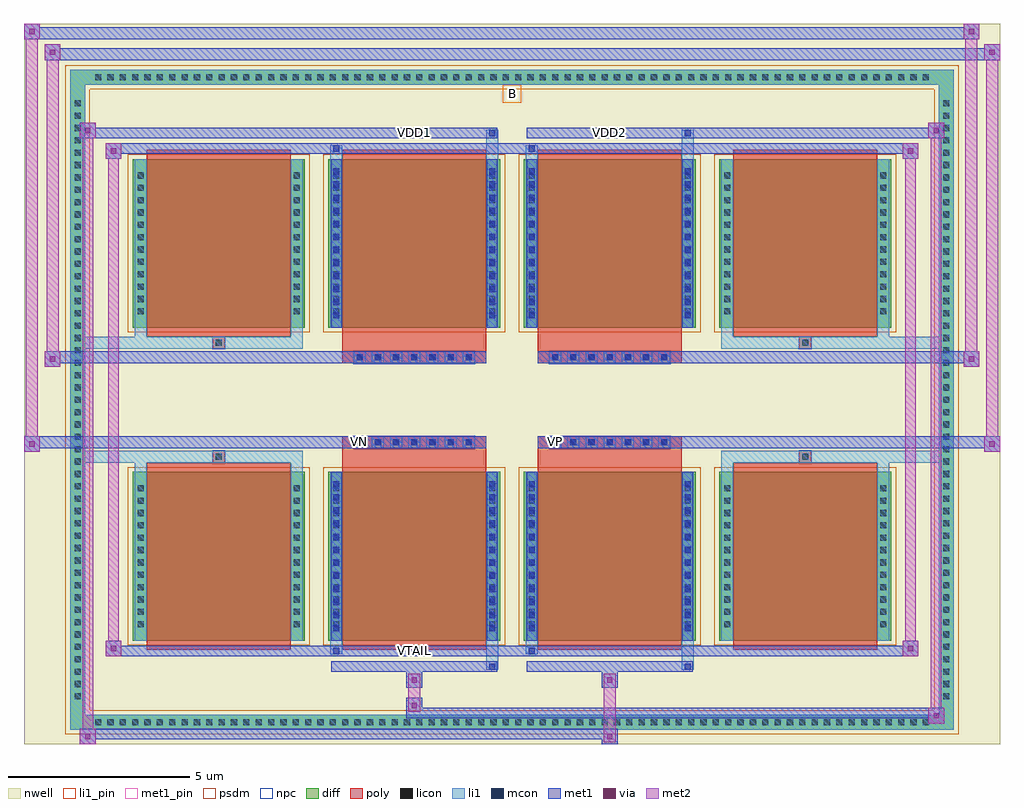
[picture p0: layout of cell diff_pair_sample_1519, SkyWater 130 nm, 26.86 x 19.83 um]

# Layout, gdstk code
import gdstk
lib = gdstk.Library(unit=1e-6, precision=5e-09)
def R(c, l, rs):  # rectangles x0, y0, x1, y1
    for r in rs: c.add(gdstk.rectangle(r[:2], r[2:], *l))
def A(c, l, x, y, w, h, nx, ny, dx, dy):  # array of equal rectangles
    R(c, l, [(x+i*dx, y+j*dy, x+i*dx+w, y+j*dy+h) for i in range(nx) for j in range(ny)])
def P(c, l, *ps):  # polygons
    for p in ps: c.add(gdstk.Polygon(p, *l))
nwell = (64, 20)
diff = (65, 20)
poly = (66, 20)
licon = (66, 44)
li1_pin = (67, 16)
li1 = (67, 20)
mcon = (67, 44)
met1_pin = (68, 16)
met1 = (68, 20)
via = (68, 44)
met2 = (69, 20)
psdm = (94, 20)
npc = (95, 20)

diff_pair_sample_1519 = lib.new_cell('diff_pair_sample_1519')
R(diff_pair_sample_1519, nwell, [(-13.43,-9.48,13.43,10.35), (-10.75,-7.67,-0.01,-0.805), (0.01,-7.67,10.75,-0.805), (-10.75,0.805,-0.01,7.67), (0.01,0.805,10.75,7.67)])
A(diff_pair_sample_1519, diff, -11.595, -9.08, 0.41, 0.41, 68, 2, 0.34, 17.75)
A(diff_pair_sample_1519, diff, -12.16, -8.365, 0.41, 0.41, 1, 49, 0, 0.34)
A(diff_pair_sample_1519, diff, 11.75, -8.365, 0.41, 0.41, 1, 49, 0, 0.34)
A(diff_pair_sample_1519, diff, -10.44, -6.625, 4.74, 4.64, 4, 2, 5.38, 8.61)
R(diff_pair_sample_1519, diff, [(-11.595,-9.08,11.595,-8.67), (-12.16,-8.365,-11.75,8.365), (11.75,-8.365,12.16,8.365), (-11.595,8.67,11.595,9.08)])
P(diff_pair_sample_1519, diff, [(12.16,9.08),(-12.16,9.08),(-12.16,-8.67),(-11.75,-8.67),(-11.75,8.67),(11.75,8.67),(11.75,-8.67),(-11.75,-8.67),(-12.16,-8.67),(-12.16,-9.08),(12.16,-9.08)])
A(diff_pair_sample_1519, poly, -10.05, -6.875, 3.96, 5.14, 4, 2, 5.38, 8.61)
A(diff_pair_sample_1519, poly, -4.355, -1.335, 0.33, 0.33, 7, 2, 0.5, 2.34)
A(diff_pair_sample_1519, poly, 1.025, -1.335, 0.33, 0.33, 7, 2, 0.5, 2.34)
R(diff_pair_sample_1519, poly, [(-8.235,-1.735,-7.905,-1.405), (-8.235,-1.735,-7.905,-1.405), (-4.67,-1.735,-0.71,-1.335), (0.71,-1.735,4.67,-1.335), (7.905,-1.735,8.235,-1.405), (7.905,-1.735,8.235,-1.405), (-4.67,-1.335,-0.71,-1.005), (0.71,-1.335,4.67,-1.005), (-4.67,1.005,-0.71,1.335), (0.71,1.005,4.67,1.335), (-4.67,1.335,-0.71,1.735), (0.71,1.335,4.67,1.735), (-8.235,1.405,-7.905,1.735), (-8.235,1.405,-7.905,1.735), (7.905,1.405,8.235,1.735), (7.905,1.405,8.235,1.735)])
A(diff_pair_sample_1519, licon, -11.475, -8.96, 0.17, 0.17, 68, 2, 0.34, 17.75)
A(diff_pair_sample_1519, licon, -12.04, -8.245, 0.17, 0.17, 1, 49, 0, 0.34)
A(diff_pair_sample_1519, licon, 11.87, -8.245, 0.17, 0.17, 1, 49, 0, 0.34)
A(diff_pair_sample_1519, licon, -10.3, -6.26, 0.17, 0.17, 1, 12, 0, 0.34)
A(diff_pair_sample_1519, licon, -6.01, -6.26, 0.17, 0.17, 1, 12, 0, 0.34)
A(diff_pair_sample_1519, licon, -4.92, -6.26, 0.17, 0.17, 1, 12, 0, 0.34)
A(diff_pair_sample_1519, licon, -0.63, -6.26, 0.17, 0.17, 1, 12, 0, 0.34)
A(diff_pair_sample_1519, licon, 0.46, -6.26, 0.17, 0.17, 1, 12, 0, 0.34)
A(diff_pair_sample_1519, licon, 4.75, -6.26, 0.17, 0.17, 1, 12, 0, 0.34)
A(diff_pair_sample_1519, licon, 5.84, -6.26, 0.17, 0.17, 1, 12, 0, 0.34)
A(diff_pair_sample_1519, licon, 10.13, -6.26, 0.17, 0.17, 1, 12, 0, 0.34)
A(diff_pair_sample_1519, licon, -4.275, -1.255, 0.17, 0.17, 7, 2, 0.5, 2.34)
A(diff_pair_sample_1519, licon, 1.105, -1.255, 0.17, 0.17, 7, 2, 0.5, 2.34)
A(diff_pair_sample_1519, licon, -10.3, 2.35, 0.17, 0.17, 1, 12, 0, 0.34)
A(diff_pair_sample_1519, licon, -6.01, 2.35, 0.17, 0.17, 1, 12, 0, 0.34)
A(diff_pair_sample_1519, licon, -4.92, 2.35, 0.17, 0.17, 1, 12, 0, 0.34)
A(diff_pair_sample_1519, licon, -0.63, 2.35, 0.17, 0.17, 1, 12, 0, 0.34)
A(diff_pair_sample_1519, licon, 0.46, 2.35, 0.17, 0.17, 1, 12, 0, 0.34)
A(diff_pair_sample_1519, licon, 4.75, 2.35, 0.17, 0.17, 1, 12, 0, 0.34)
A(diff_pair_sample_1519, licon, 5.84, 2.35, 0.17, 0.17, 1, 12, 0, 0.34)
A(diff_pair_sample_1519, licon, 10.13, 2.35, 0.17, 0.17, 1, 12, 0, 0.34)
R(diff_pair_sample_1519, licon, [(-8.155,-1.655,-7.985,-1.485), (7.985,-1.655,8.155,-1.485), (-8.155,1.485,-7.985,1.655), (7.985,1.485,8.155,1.655)])
R(diff_pair_sample_1519, li1_pin, [(-0.25,8.17,0.25,8.67)])
A(diff_pair_sample_1519, li1, -11.555, -9.04, 0.33, 0.33, 68, 2, 0.34, 17.75)
A(diff_pair_sample_1519, li1, -12.12, -8.325, 0.33, 0.33, 1, 49, 0, 0.34)
A(diff_pair_sample_1519, li1, 11.79, -8.325, 0.33, 0.33, 1, 49, 0, 0.34)
A(diff_pair_sample_1519, li1, -4.92, -6.37, 0.17, 0.17, 1, 12, 0, 0.36)
A(diff_pair_sample_1519, li1, -0.63, -6.37, 0.17, 0.17, 1, 12, 0, 0.36)
A(diff_pair_sample_1519, li1, 0.46, -6.37, 0.17, 0.17, 1, 12, 0, 0.36)
A(diff_pair_sample_1519, li1, 4.75, -6.37, 0.17, 0.17, 1, 12, 0, 0.36)
A(diff_pair_sample_1519, li1, -10.38, -6.34, 0.33, 0.33, 1, 12, 0, 0.34)
A(diff_pair_sample_1519, li1, -6.09, -6.34, 0.33, 0.33, 1, 12, 0, 0.34)
A(diff_pair_sample_1519, li1, -5, -6.34, 0.33, 0.33, 1, 12, 0, 0.34)
A(diff_pair_sample_1519, li1, -0.71, -6.34, 0.33, 0.33, 1, 12, 0, 0.34)
A(diff_pair_sample_1519, li1, 0.38, -6.34, 0.33, 0.33, 1, 12, 0, 0.34)
A(diff_pair_sample_1519, li1, 4.67, -6.34, 0.33, 0.33, 1, 12, 0, 0.34)
A(diff_pair_sample_1519, li1, 5.76, -6.34, 0.33, 0.33, 1, 12, 0, 0.34)
A(diff_pair_sample_1519, li1, 10.05, -6.34, 0.33, 0.33, 1, 12, 0, 0.34)
A(diff_pair_sample_1519, li1, -4.355, -1.335, 0.33, 0.33, 7, 2, 0.5, 2.34)
A(diff_pair_sample_1519, li1, 1.025, -1.335, 0.33, 0.33, 7, 2, 0.5, 2.34)
A(diff_pair_sample_1519, li1, -4.92, 2.24, 0.17, 0.17, 1, 12, 0, 0.36)
A(diff_pair_sample_1519, li1, -0.63, 2.24, 0.17, 0.17, 1, 12, 0, 0.36)
A(diff_pair_sample_1519, li1, 0.46, 2.24, 0.17, 0.17, 1, 12, 0, 0.36)
A(diff_pair_sample_1519, li1, 4.75, 2.24, 0.17, 0.17, 1, 12, 0, 0.36)
A(diff_pair_sample_1519, li1, -10.38, 2.27, 0.33, 0.33, 1, 12, 0, 0.34)
A(diff_pair_sample_1519, li1, -6.09, 2.27, 0.33, 0.33, 1, 12, 0, 0.34)
A(diff_pair_sample_1519, li1, -5, 2.27, 0.33, 0.33, 1, 12, 0, 0.34)
A(diff_pair_sample_1519, li1, -0.71, 2.27, 0.33, 0.33, 1, 12, 0, 0.34)
A(diff_pair_sample_1519, li1, 0.38, 2.27, 0.33, 0.33, 1, 12, 0, 0.34)
A(diff_pair_sample_1519, li1, 4.67, 2.27, 0.33, 0.33, 1, 12, 0, 0.34)
A(diff_pair_sample_1519, li1, 5.76, 2.27, 0.33, 0.33, 1, 12, 0, 0.34)
A(diff_pair_sample_1519, li1, 10.05, 2.27, 0.33, 0.33, 1, 12, 0, 0.34)
R(diff_pair_sample_1519, li1, [(-12.16,-9.08,-11.75,-8.67), (-12.16,-9.08,-11.75,-8.67), (-11.75,-9.08,11.75,-8.67), (11.75,-9.08,12.16,-8.67), (11.75,-9.08,12.16,-8.67), (-12.16,-8.67,-11.75,8.67), (11.75,-8.67,12.16,8.67), (-0.71,-7.43,-0.38,-6.625), (-0.63,-7.43,-0.46,-7.26), (4.67,-7.43,5,-6.625), (4.75,-7.43,4.92,-7.26), (-5,-7,-4.67,-6.625), (-4.92,-7,-4.75,-6.83), (0.38,-7,0.71,-6.625), (0.46,-7,0.63,-6.83), (-10.38,-6.625,-10.05,-1.985), (-6.09,-6.625,-5.76,-1.985), (-5,-6.625,-4.67,-1.985), (-0.71,-6.625,-0.38,-1.985), (0.38,-6.625,0.71,-1.985), (4.67,-6.625,5,-1.985), (5.76,-6.625,6.09,-1.985), (10.05,-6.625,10.38,-1.985), (-4.92,-6.37,-4.75,-2.24), (-0.63,-6.37,-0.46,-2.24), (0.46,-6.37,0.63,-2.24), (4.75,-6.37,4.92,-2.24), (-10.38,-1.985,-10.05,-1.405), (-6.09,-1.985,-5.76,-1.405), (5.76,-1.985,6.09,-1.405), (10.05,-1.985,10.38,-1.405), (-12.16,-1.735,-8.235,-1.405), (-10.38,-1.735,-8.235,-1.405), (-8.235,-1.735,-7.905,-1.405), (-7.905,-1.735,-5.76,-1.405), (5.76,-1.735,7.905,-1.405), (7.905,-1.735,8.235,-1.405), (7.905,-1.735,12.16,-1.405), (8.235,-1.735,10.38,-1.405), (-12.16,1.405,-8.235,1.735), (-10.38,1.405,-8.235,1.735), (-10.38,1.405,-10.05,1.985), (-8.235,1.405,-7.905,1.735), (-7.905,1.405,-5.76,1.735), (-6.09,1.405,-5.76,1.985), (5.76,1.405,7.905,1.735), (5.76,1.405,6.09,1.985), (7.905,1.405,8.235,1.735), (7.905,1.405,12.16,1.735), (8.235,1.405,10.38,1.735), (10.05,1.405,10.38,1.985), (-10.38,1.985,-10.05,6.625), (-6.09,1.985,-5.76,6.625), (-5,1.985,-4.67,6.625), (-0.71,1.985,-0.38,6.625), (0.38,1.985,0.71,6.625), (4.67,1.985,5,6.625), (5.76,1.985,6.09,6.625), (10.05,1.985,10.38,6.625), (-4.92,2.24,-4.75,6.37), (-0.63,2.24,-0.46,6.37), (0.46,2.24,0.63,6.37), (4.75,2.24,4.92,6.37), (-5,6.625,-4.67,7), (-0.71,6.625,-0.38,7.43), (0.38,6.625,0.71,7), (4.67,6.625,5,7.43), (-4.92,6.83,-4.75,7), (0.46,6.83,0.63,7), (-0.63,7.26,-0.46,7.43), (4.75,7.26,4.92,7.43), (-12.16,8.67,-11.75,9.08), (-12.16,8.67,-11.75,9.08), (-11.75,8.67,11.75,9.08), (11.75,8.67,12.16,9.08), (11.75,8.67,12.16,9.08)])
A(diff_pair_sample_1519, mcon, -4.92, -6.37, 0.17, 0.17, 1, 12, 0, 0.36)
A(diff_pair_sample_1519, mcon, -0.63, -6.37, 0.17, 0.17, 1, 12, 0, 0.36)
A(diff_pair_sample_1519, mcon, 0.46, -6.37, 0.17, 0.17, 1, 12, 0, 0.36)
A(diff_pair_sample_1519, mcon, 4.75, -6.37, 0.17, 0.17, 1, 12, 0, 0.36)
A(diff_pair_sample_1519, mcon, -4.275, -1.255, 0.17, 0.17, 7, 2, 0.5, 2.34)
A(diff_pair_sample_1519, mcon, 1.105, -1.255, 0.17, 0.17, 7, 2, 0.5, 2.34)
A(diff_pair_sample_1519, mcon, -4.92, 2.24, 0.17, 0.17, 1, 12, 0, 0.36)
A(diff_pair_sample_1519, mcon, -0.63, 2.24, 0.17, 0.17, 1, 12, 0, 0.36)
A(diff_pair_sample_1519, mcon, 0.46, 2.24, 0.17, 0.17, 1, 12, 0, 0.36)
A(diff_pair_sample_1519, mcon, 4.75, 2.24, 0.17, 0.17, 1, 12, 0, 0.36)
R(diff_pair_sample_1519, mcon, [(-0.63,-7.43,-0.46,-7.26), (4.75,-7.43,4.92,-7.26), (-4.92,-7,-4.75,-6.83), (0.46,-7,0.63,-6.83), (-4.92,6.83,-4.75,7), (0.46,6.83,0.63,7), (-0.63,7.26,-0.46,7.43), (4.75,7.26,4.92,7.43)])
R(diff_pair_sample_1519, met1_pin, [(-2.825,-7.04,-2.555,-6.77), (-4.325,-1.295,-4.055,-1.025), (1.055,-1.295,1.325,-1.025), (-2.825,7.22,-2.555,7.49), (2.555,7.22,2.825,7.49)])
A(diff_pair_sample_1519, met1, -4.98, -6.43, 0.29, 0.29, 1, 12, 0, 0.36)
A(diff_pair_sample_1519, met1, -0.69, -6.43, 0.29, 0.29, 1, 12, 0, 0.36)
A(diff_pair_sample_1519, met1, 0.4, -6.43, 0.29, 0.29, 1, 12, 0, 0.36)
A(diff_pair_sample_1519, met1, 4.69, -6.43, 0.29, 0.29, 1, 12, 0, 0.36)
A(diff_pair_sample_1519, met1, -4.335, -1.315, 0.29, 0.29, 7, 2, 0.5, 2.34)
A(diff_pair_sample_1519, met1, 1.045, -1.315, 0.29, 0.29, 7, 2, 0.5, 2.34)
A(diff_pair_sample_1519, met1, -4.98, 2.18, 0.29, 0.29, 1, 12, 0, 0.36)
A(diff_pair_sample_1519, met1, -0.69, 2.18, 0.29, 0.29, 1, 12, 0, 0.36)
A(diff_pair_sample_1519, met1, 0.4, 2.18, 0.29, 0.29, 1, 12, 0, 0.36)
A(diff_pair_sample_1519, met1, 4.69, 2.18, 0.29, 0.29, 1, 12, 0, 0.36)
R(diff_pair_sample_1519, met1, [(-11.89,-9.48,-11.46,-9.05), (2.475,-9.48,2.905,-9.05), (-11.89,-9.34,2.905,-9.05), (11.46,-8.91,11.89,-8.48), (-2.905,-8.77,11.89,-8.48), (-2.905,-8.63,-2.475,-8.2), (-2.905,-7.92,-2.475,-7.49), (2.475,-7.92,2.905,-7.49), (-4.98,-7.49,-0.4,-7.2), (-0.69,-7.49,-0.4,-7.2), (0.4,-7.49,4.98,-7.2), (4.69,-7.49,4.98,-7.2), (-11.18,-7.06,-10.75,-6.63), (-11.18,-7.06,-4.98,-6.77), (-4.98,-7.06,-4.69,-6.77), (-4.98,-7.06,-0.4,-6.77), (-0.4,-7.06,0.4,-6.77), (0.4,-7.06,0.69,-6.77), (0.4,-7.06,4.98,-6.77), (4.98,-7.06,11.18,-6.77), (10.75,-7.06,11.18,-6.63), (-4.98,-6.625,-4.69,-1.985), (-0.69,-6.625,-0.4,-1.985), (0.4,-6.625,0.69,-1.985), (4.69,-6.625,4.98,-1.985), (-13.43,-1.435,-13,-1.005), (13,-1.435,13.43,-1.005), (-13.43,-1.335,-0.71,-1.005), (-4.67,-1.335,-0.71,-1.005), (0.71,-1.335,4.67,-1.005), (0.71,-1.335,13.43,-1.005), (-12.86,0.905,-12.43,1.335), (12.43,0.905,12.86,1.335), (-12.86,1.005,-4.67,1.335), (-4.67,1.005,-0.71,1.335), (0.71,1.005,4.67,1.335), (4.67,1.005,12.86,1.335), (-4.98,1.985,-4.69,6.625), (-0.69,1.985,-0.4,6.625), (0.4,1.985,0.69,6.625), (4.69,1.985,4.98,6.625), (-11.18,6.63,-10.75,7.06), (10.75,6.63,11.18,7.06), (-11.18,6.77,-4.98,7.06), (-4.98,6.77,-4.69,7.06), (-4.98,6.77,-0.4,7.06), (-0.4,6.77,0.4,7.06), (0.4,6.77,0.69,7.06), (0.4,6.77,4.98,7.06), (4.98,6.77,11.18,7.06), (-11.89,7.2,-11.46,7.63), (-11.89,7.2,-4.98,7.49), (-4.98,7.2,-0.4,7.49), (-0.69,7.2,-0.4,7.49), (0.4,7.2,4.98,7.49), (4.69,7.2,4.98,7.49), (4.98,7.2,11.89,7.49), (11.46,7.2,11.89,7.63), (-12.86,9.35,-12.43,9.78), (-12.86,9.35,-10.75,9.68), (-10.75,9.35,10.75,9.68), (10.75,9.35,13.43,9.68), (13,9.35,13.43,9.78), (-13.43,9.92,-13,10.35), (-13.43,9.92,-10.75,10.25), (-10.75,9.92,10.75,10.25), (10.75,9.92,12.86,10.25), (12.43,9.92,12.86,10.35)])
R(diff_pair_sample_1519, via, [(-11.75,-9.34,-11.6,-9.19), (2.615,-9.34,2.765,-9.19), (11.6,-8.77,11.75,-8.62), (-2.765,-8.49,-2.615,-8.34), (-2.765,-7.78,-2.615,-7.63), (2.615,-7.78,2.765,-7.63), (-11.04,-6.92,-10.89,-6.77), (10.89,-6.92,11.04,-6.77), (-13.29,-1.295,-13.14,-1.145), (13.14,-1.295,13.29,-1.145), (-12.72,1.045,-12.57,1.195), (12.57,1.045,12.72,1.195), (-11.04,6.77,-10.89,6.92), (10.89,6.77,11.04,6.92), (-11.75,7.34,-11.6,7.49), (11.6,7.34,11.75,7.49), (-12.72,9.49,-12.57,9.64), (13.14,9.49,13.29,9.64), (-13.29,10.06,-13.14,10.21), (12.57,10.06,12.72,10.21)])
R(diff_pair_sample_1519, met2, [(-11.89,-9.48,-11.46,-9.05), (-11.82,-9.48,-11.53,7.63), (-11.53,-9.48,-11.46,-9.05), (-11.84,-9.43,-11.51,-9.1), (2.525,-9.43,2.855,-9.1), (2.525,-9.1,2.855,-7.87), (11.46,-8.91,11.89,-8.48), (11.53,-8.91,11.82,7.63), (11.82,-8.91,11.89,-8.48), (11.51,-8.86,11.84,-8.53), (-2.855,-8.58,-2.525,-8.25), (-2.855,-8.25,-2.525,-7.87), (-2.855,-7.87,-2.525,-7.54), (2.525,-7.87,2.855,-7.54), (-11.18,-7.06,-10.75,-6.63), (-11.11,-7.06,-10.82,7.06), (-10.82,-7.06,-10.75,-6.63), (10.75,-7.06,11.18,-6.63), (10.82,-7.06,11.11,7.06), (11.11,-7.06,11.18,-6.63), (-11.13,-7.01,-10.8,-6.68), (10.8,-7.01,11.13,-6.68), (-13.43,-1.435,-13,-1.005), (-13.38,-1.435,-13.05,10.35), (-13.05,-1.435,-13,-1.005), (13,-1.435,13.43,-1.005), (13.05,-1.435,13.38,9.78), (13.38,-1.435,13.43,-1.005), (-13.38,-1.385,-13.05,-1.055), (13.05,-1.385,13.38,-1.055), (-12.86,0.905,-12.43,1.335), (-12.81,0.905,-12.48,9.78), (-12.48,0.905,-12.43,1.335), (12.43,0.905,12.86,1.335), (12.48,0.905,12.81,10.35), (12.81,0.905,12.86,1.335), (-12.81,0.955,-12.48,1.285), (12.48,0.955,12.81,1.285), (-11.18,6.63,-10.75,7.06), (-10.82,6.63,-10.75,7.06), (10.75,6.63,11.18,7.06), (11.11,6.63,11.18,7.06), (-11.13,6.68,-10.8,7.01), (10.8,6.68,11.13,7.01), (-11.89,7.2,-11.46,7.63), (-11.53,7.2,-11.46,7.63), (11.46,7.2,11.89,7.63), (11.82,7.2,11.89,7.63), (-11.84,7.25,-11.51,7.58), (11.51,7.25,11.84,7.58), (-12.86,9.35,-12.43,9.78), (-12.48,9.35,-12.43,9.78), (13,9.35,13.43,9.78), (13.38,9.35,13.43,9.78), (-12.81,9.4,-12.48,9.73), (13.05,9.4,13.38,9.73), (-13.43,9.92,-13,10.35), (-13.05,9.92,-13,10.35), (12.43,9.92,12.86,10.35), (12.81,9.92,12.86,10.35), (-13.38,9.97,-13.05,10.3), (12.48,9.97,12.81,10.3)])
A(diff_pair_sample_1519, psdm, -10.57, -6.755, 5, 4.9, 4, 2, 5.38, 8.61)
P(diff_pair_sample_1519, psdm, [(12.29,9.21),(-12.29,9.21),(-12.29,-8.54),(-11.62,-8.54),(-11.62,8.54),(11.62,8.54),(11.62,-8.54),(-11.62,-8.54),(-12.29,-8.54),(-12.29,-9.21),(12.29,-9.21)])
A(diff_pair_sample_1519, npc, -4.375, -1.355, 0.37, 0.37, 7, 2, 0.5, 2.34)
A(diff_pair_sample_1519, npc, 1.005, -1.355, 0.37, 0.37, 7, 2, 0.5, 2.34)
R(diff_pair_sample_1519, npc, [(-8.255,-1.755,-7.885,-1.385), (7.885,-1.755,8.255,-1.385), (-4.375,-1.355,-3.505,-0.985), (-4.375,-1.355,-3.505,-0.985), (-3.875,-1.355,-3.005,-0.985), (-3.875,-1.355,-3.005,-0.985), (-3.375,-1.355,-2.505,-0.985), (-3.375,-1.355,-2.505,-0.985), (-2.875,-1.355,-2.005,-0.985), (-2.875,-1.355,-2.005,-0.985), (-2.375,-1.355,-1.505,-0.985), (-2.375,-1.355,-1.505,-0.985), (-1.875,-1.355,-1.005,-0.985), (-1.875,-1.355,-1.005,-0.985), (1.005,-1.355,1.875,-0.985), (1.005,-1.355,1.875,-0.985), (1.505,-1.355,2.375,-0.985), (1.505,-1.355,2.375,-0.985), (2.005,-1.355,2.875,-0.985), (2.005,-1.355,2.875,-0.985), (2.505,-1.355,3.375,-0.985), (2.505,-1.355,3.375,-0.985), (3.005,-1.355,3.875,-0.985), (3.005,-1.355,3.875,-0.985), (3.505,-1.355,4.375,-0.985), (3.505,-1.355,4.375,-0.985), (-4.375,0.985,-3.505,1.355), (-4.375,0.985,-3.505,1.355), (-3.875,0.985,-3.005,1.355), (-3.875,0.985,-3.005,1.355), (-3.375,0.985,-2.505,1.355), (-3.375,0.985,-2.505,1.355), (-2.875,0.985,-2.005,1.355), (-2.875,0.985,-2.005,1.355), (-2.375,0.985,-1.505,1.355), (-2.375,0.985,-1.505,1.355), (-1.875,0.985,-1.005,1.355), (-1.875,0.985,-1.005,1.355), (1.005,0.985,1.875,1.355), (1.005,0.985,1.875,1.355), (1.505,0.985,2.375,1.355), (1.505,0.985,2.375,1.355), (2.005,0.985,2.875,1.355), (2.005,0.985,2.875,1.355), (2.505,0.985,3.375,1.355), (2.505,0.985,3.375,1.355), (3.005,0.985,3.875,1.355), (3.005,0.985,3.875,1.355), (3.505,0.985,4.375,1.355), (3.505,0.985,4.375,1.355), (-8.255,1.385,-7.885,1.755), (7.885,1.385,8.255,1.755)])
diff_pair_sample_1519.add(gdstk.Label('VTAIL', (-2.69,-6.905), layer=68, texttype=5))
diff_pair_sample_1519.add(gdstk.Label('VN', (-4.19,-1.16), layer=68, texttype=5))
diff_pair_sample_1519.add(gdstk.Label('VP', (1.19,-1.16), layer=68, texttype=5))
diff_pair_sample_1519.add(gdstk.Label('B', (0,8.42), layer=67, texttype=5))
diff_pair_sample_1519.add(gdstk.Label('VDD2', (2.69,7.355), layer=68, texttype=5))
diff_pair_sample_1519.add(gdstk.Label('VDD1', (-2.69,7.355), layer=68, texttype=5))

lib.write_gds('diff_pair_sample_1519.gds')
